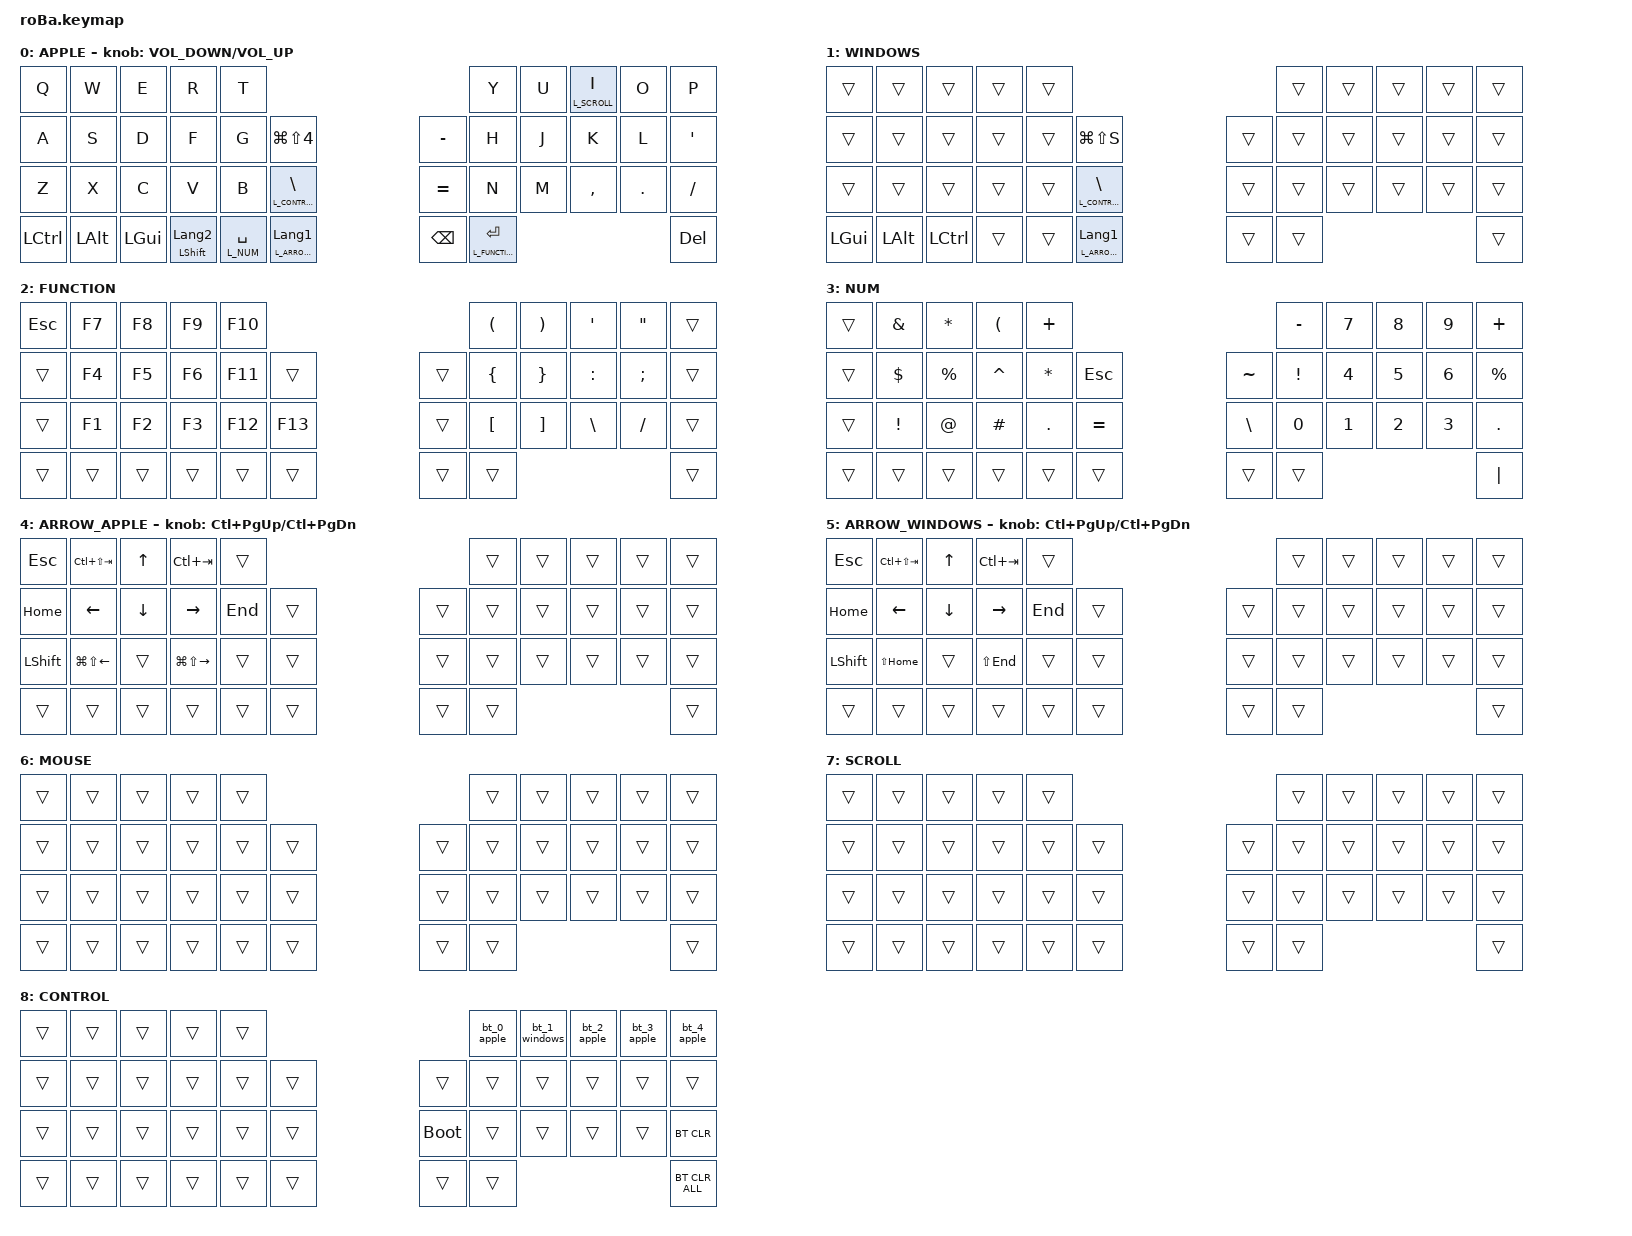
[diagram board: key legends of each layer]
#include <input/processors.dtsi>
#include <behaviors.dtsi>
#include <dt-bindings/zmk/bt.h>
#include <dt-bindings/zmk/keys.h>
#include <dt-bindings/zmk/pointing.h>

#define L_APPLE 0
#define L_WINDOWS 1
#define L_FUNCTION 2
#define L_NUM 3
#define L_ARROW_APPLE 4
#define L_ARROW_WINDOWS 5
#define L_MOUSE 6
#define L_SCROLL 7
#define L_CONTROL 8

&mt {
    flavor = "balanced";
    quick-tap-ms = <0>;
};

&trackball {
    automouse-layer = <L_MOUSE>;
    scroll-layers = <L_SCROLL>;

    // arrows {
    //     layers = <3>;
    //     bindings =
    //         <&kp RIGHT_ARROW>,
    //         <&kp LEFT_ARROW>,
    //         <&kp UP_ARROW>,
    //         <&kp DOWN_ARROW>;
    //     tick = <10>;
    //     wait-ms = <5>;
    //     tap-ms = <5>;
    // };
};

/ {
    combos {
        compatible = "zmk,combos";

        tab {
            bindings = <&kp TAB>;
            key-positions = <11 12>;
        };

        shift_tab {
            bindings = <&kp LS(TAB)>;
            key-positions = <12 13>;
        };

        l_click {
            bindings = <&mkp MB1>;
            key-positions = <18 19>;
        };

        m_click {
            bindings = <&mkp MB3>;
            key-positions = <19 31>;
        };

        r_click {
            bindings = <&mkp MB2>;
            key-positions = <20 21>;
        };
    };

    macros {
        to_apple: to_apple {
            compatible = "zmk,behavior-macro-one-param";
            #binding-cells = <1>;
            bindings = <&to L_APPLE &macro_param_1to1 &kp MACRO_PLACEHOLDER>;
            label = "TO_APPLE";
        };

        to_windows: to_windows {
            compatible = "zmk,behavior-macro-one-param";
            #binding-cells = <1>;
            bindings = <&to L_WINDOWS &macro_param_1to1 &kp MACRO_PLACEHOLDER>;
            label = "TO_WINDOWS";
        };

        bt_0_apple: bt_0_apple {
            compatible = "zmk,behavior-macro";
            #binding-cells = <0>;
            bindings = <&bt BT_SEL 0 &to L_APPLE>;
            label = "BT_0_APPLE";
        };

        bt_1_windows: bt_1_windows {
            compatible = "zmk,behavior-macro";
            #binding-cells = <0>;
            bindings = <&bt BT_SEL 1 &to L_WINDOWS>;
            label = "BT_1_WINDOWS";
        };

        bt_2_apple: bt_2_apple {
            compatible = "zmk,behavior-macro";
            #binding-cells = <0>;
            bindings = <&bt BT_SEL 2 &to L_APPLE>;
            label = "BT_2_APPLE";
        };

        bt_3_apple: bt_3_apple {
            compatible = "zmk,behavior-macro";
            #binding-cells = <0>;
            bindings = <&bt BT_SEL 3 &to L_APPLE>;
            label = "BT_3_APPLE";
        };

        bt_4_apple: bt_4_apple {
            compatible = "zmk,behavior-macro";
            #binding-cells = <0>;
            bindings = <&bt BT_SEL 4 &to L_APPLE>;
            label = "BT_4_APPLE";
        };
    };

    behaviors {
        lt_to_apple: lt_to_apple {
            compatible = "zmk,behavior-hold-tap";
            label = "LAYER_TAP_TO_APPLE";
            bindings = <&mo>, <&to_apple>;

            #binding-cells = <2>;
            tapping-term-ms = <200>;
        };

        lt_to_windows: lt_to_windows {
            compatible = "zmk,behavior-hold-tap";
            label = "LAYER_TAP_TO_WINDOWS";
            bindings = <&mo>, <&to_windows>;

            #binding-cells = <2>;
            tapping-term-ms = <200>;
        };
    };

    keymap {
        compatible = "zmk,keymap";

        APPLE {
            bindings = <
&kp Q             &kp W         &kp E         &kp R                      &kp T                                                                      &kp Y                 &kp U  &lt L_SCROLL I  &kp O    &kp P
&kp A             &kp S         &kp D         &kp F                      &kp G            &kp LG(LS(NUMBER_4))                       &kp MINUS      &kp H                 &kp J  &kp K           &kp L    &kp SQT
&kp Z             &kp X         &kp C         &kp V                      &kp B            &lt_to_apple L_CONTROL BACKSLASH           &kp EQUAL      &kp N                 &kp M  &kp COMMA       &kp DOT  &kp SLASH
&kp LEFT_CONTROL  &kp LEFT_ALT  &kp LEFT_GUI  &mt LEFT_SHIFT LANGUAGE_2  &lt L_NUM SPACE  &lt_to_apple L_ARROW_APPLE LANGUAGE_1      &kp BACKSPACE  &lt L_FUNCTION ENTER                                  &kp DEL
            >;

            sensor-bindings = <&inc_dec_kp C_VOLUME_DOWN C_VOLUME_UP>;
        };

        WINDOWS {
            bindings = <
&trans        &trans        &trans            &trans  &trans                                                         &trans  &trans  &trans  &trans  &trans
&trans        &trans        &trans            &trans  &trans  &kp LG(LS(S))                                  &trans  &trans  &trans  &trans  &trans  &trans
&trans        &trans        &trans            &trans  &trans  &lt_to_windows L_CONTROL BACKSLASH             &trans  &trans  &trans  &trans  &trans  &trans
&kp LEFT_GUI  &kp LEFT_ALT  &kp LEFT_CONTROL  &trans  &trans  &lt_to_windows L_ARROW_WINDOWS LANGUAGE_1      &trans  &trans                          &trans
            >;
        };

        FUNCTION {
            bindings = <
&kp ESCAPE  &kp F7  &kp F8  &kp F9  &kp F10                       &kp LEFT_PARENTHESIS  &kp RIGHT_PARENTHESIS  &kp SINGLE_QUOTE  &kp DOUBLE_QUOTES  &trans
&trans      &kp F4  &kp F5  &kp F6  &kp F11  &trans       &trans  &kp LEFT_BRACE        &kp RIGHT_BRACE        &kp COLON         &kp SEMI           &trans
&trans      &kp F1  &kp F2  &kp F3  &kp F12  &kp F13      &trans  &kp LEFT_BRACKET      &kp RIGHT_BRACKET      &kp BACKSLASH     &kp SLASH          &trans
&trans      &trans  &trans  &trans  &trans   &trans       &trans  &trans                                                                            &trans
            >;
        };

        NUM {
            bindings = <
&trans  &kp AMPERSAND    &kp ASTERISK  &kp LEFT_PARENTHESIS  &kp PLUS                                 &kp MINUS        &kp NUMBER_7  &kp NUMBER_8  &kp NUMBER_9  &kp PLUS
&trans  &kp DOLLAR       &kp PERCENT   &kp CARET             &kp ASTERISK  &kp ESCAPE      &kp TILDE  &kp EXCLAMATION  &kp NUMBER_4  &kp NUMBER_5  &kp NUMBER_6  &kp PERCENT
&trans  &kp EXCLAMATION  &kp AT_SIGN   &kp HASH              &kp PERIOD    &kp EQUAL       &kp BSLH   &kp NUMBER_0     &kp NUMBER_1  &kp NUMBER_2  &kp NUMBER_3  &kp PERIOD
&trans  &trans           &trans        &trans                &trans        &trans          &trans     &trans                                                     &kp PIPE
            >;
        };

        ARROW_APPLE {
            bindings = <
&kp ESCAPE      &kp LC(LS(TAB))         &kp UP_ARROW    &kp LC(TAB)              &trans                       &trans  &trans  &trans  &trans  &trans
&kp HOME        &kp LEFT_ARROW          &kp DOWN_ARROW  &kp RIGHT_ARROW          &kp END  &trans      &trans  &trans  &trans  &trans  &trans  &trans
&kp LEFT_SHIFT  &kp LG(LS(LEFT_ARROW))  &trans          &kp LG(LS(RIGHT_ARROW))  &trans   &trans      &trans  &trans  &trans  &trans  &trans  &trans
&trans          &trans                  &trans          &trans                   &trans   &trans      &trans  &trans                          &trans
            >;

            sensor-bindings = <&inc_dec_kp LC(PAGE_UP) LC(PAGE_DOWN)>;
        };

        ARROW_WINDOWS {
            bindings = <
&kp ESCAPE      &kp LC(LS(TAB))  &kp UP_ARROW    &kp LC(TAB)      &trans                       &trans  &trans  &trans  &trans  &trans
&kp HOME        &kp LEFT_ARROW   &kp DOWN_ARROW  &kp RIGHT_ARROW  &kp END  &trans      &trans  &trans  &trans  &trans  &trans  &trans
&kp LEFT_SHIFT  &kp LS(HOME)     &trans          &kp LS(END)      &trans   &trans      &trans  &trans  &trans  &trans  &trans  &trans
&trans          &trans           &trans          &trans           &trans   &trans      &trans  &trans                          &trans
            >;

            sensor-bindings = <&inc_dec_kp LC(PAGE_UP) LC(PAGE_DOWN)>;
        };

        MOUSE {
            bindings = <
&trans  &trans  &trans  &trans  &trans                      &trans  &trans  &trans  &trans  &trans
&trans  &trans  &trans  &trans  &trans  &trans      &trans  &trans  &trans  &trans  &trans  &trans
&trans  &trans  &trans  &trans  &trans  &trans      &trans  &trans  &trans  &trans  &trans  &trans
&trans  &trans  &trans  &trans  &trans  &trans      &trans  &trans                          &trans
            >;
        };

        SCROLL {
            bindings = <
&trans  &trans  &trans  &trans  &trans                      &trans  &trans  &trans  &trans  &trans
&trans  &trans  &trans  &trans  &trans  &trans      &trans  &trans  &trans  &trans  &trans  &trans
&trans  &trans  &trans  &trans  &trans  &trans      &trans  &trans  &trans  &trans  &trans  &trans
&trans  &trans  &trans  &trans  &trans  &trans      &trans  &trans                          &trans
            >;
        };

        CONTROL {
            bindings = <
&trans  &trans  &trans  &trans  &trans                           &bt_0_apple  &bt_1_windows  &bt_2_apple  &bt_3_apple  &bt_4_apple
&trans  &trans  &trans  &trans  &trans  &trans      &trans       &trans       &trans         &trans       &trans       &trans
&trans  &trans  &trans  &trans  &trans  &trans      &bootloader  &trans       &trans         &trans       &trans       &bt BT_CLR
&trans  &trans  &trans  &trans  &trans  &trans      &trans       &trans                                                &bt BT_CLR_ALL
            >;
        };
    };
};
